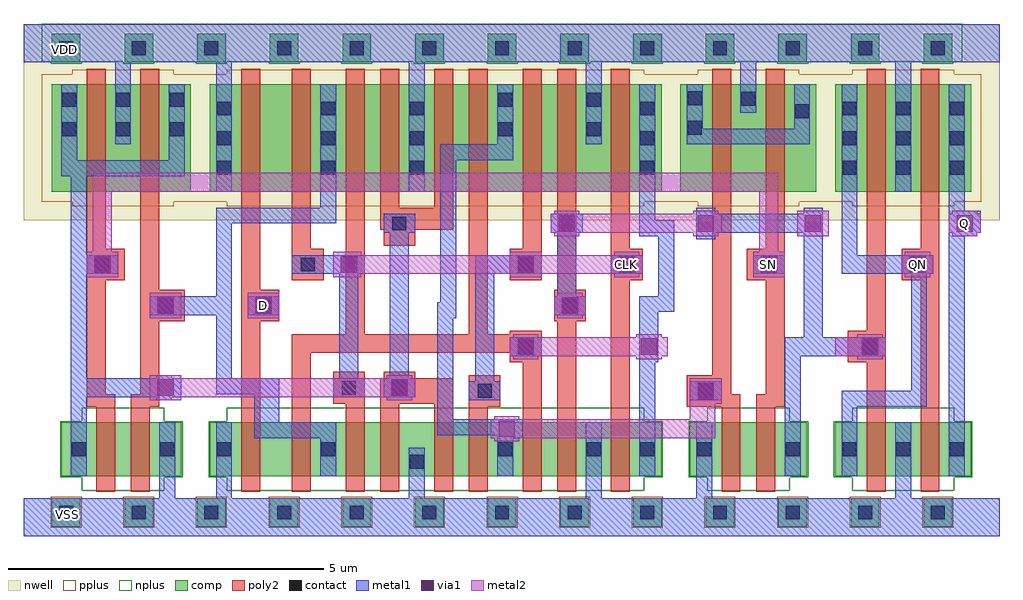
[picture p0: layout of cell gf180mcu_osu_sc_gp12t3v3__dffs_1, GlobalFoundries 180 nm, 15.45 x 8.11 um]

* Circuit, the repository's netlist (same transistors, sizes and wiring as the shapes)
* Copyright 2022 Google LLC
*
* Licensed under the Apache License, Version 2.0 (the "License");
* you may not use this file except in compliance with the License.
* You may obtain a copy of the License at
*
*      http://www.apache.org/licenses/LICENSE-2.0
*
* Unless required by applicable law or agreed to in writing, software
* distributed under the License is distributed on an "AS IS" BASIS,
* WITHOUT WARRANTIES OR CONDITIONS OF ANY KIND, either express or implied.
* See the License for the specific language governing permissions and
* limitations under the License.

.inc "/import/yukari1/lrburle/OSU_180/char/techfiles/design.hspice"
.lib "/import/yukari1/lrburle/OSU_180/char/techfiles/sm141064.hspice" typical

.GLOBAL VDD
.GLOBAL VSS

.option scale=0.05u

.subckt gf180mcu_osu_sc_gp12t3v3__dffs_1 D SN Q QN CLK
X0 a_75_109 D VDD VDD pmos_3p3 w=34 l=6
X1 Q QN VSS VSS nmos_3p3 w=17 l=6
X2 a_227_19 a_147_19 VSS VSS nmos_3p3 w=17 l=6
X3 a_208_109 SN VDD VDD pmos_3p3 w=34 l=6
X4 VSS SN a_108_19 VSS nmos_3p3 w=17 l=6
X5 VDD a_147_19 a_208_109 VDD pmos_3p3 w=34 l=6
X6 a_85_14 CLK VSS VSS nmos_3p3 w=17 l=6
X7 a_168_68 SN a_227_19 VSS nmos_3p3 w=17 l=6
X8 a_75_19 D VSS VSS nmos_3p3 w=17 l=6
X9 a_85_14 CLK VDD VDD pmos_3p3 w=34 l=6
X10 VDD a_168_68 a_164_109 VDD pmos_3p3 w=34 l=6
X11 VDD SN SN VDD pmos_3p3 w=34 l=6
X12 SN a_34_14 VDD VDD pmos_3p3 w=34 l=6
X13 a_147_19 a_85_14 a_136_109 VDD pmos_3p3 w=34 l=6
X14 a_164_109 CLK a_147_19 VDD pmos_3p3 w=34 l=6
X15 a_136_109 SN VDD VDD pmos_3p3 w=34 l=6
X16 a_136_19 SN VSS VSS nmos_3p3 w=17 l=6
X17 VDD SN a_108_109 VDD pmos_3p3 w=34 l=6
X18 VSS a_168_68 QN VSS nmos_3p3 w=17 l=6
X19 a_108_109 a_85_14 a_34_14 VDD pmos_3p3 w=34 l=6
X20 a_164_19 a_85_14 a_147_19 VSS nmos_3p3 w=17 l=6
X21 Q QN VDD VDD pmos_3p3 w=34 l=6
X22 VDD a_168_68 QN VDD pmos_3p3 w=34 l=6
X23 a_147_19 CLK a_136_19 VSS nmos_3p3 w=17 l=6
X24 VSS a_168_68 a_164_19 VSS nmos_3p3 w=17 l=6
X25 a_34_14 CLK a_75_109 VDD pmos_3p3 w=34 l=6
X26 a_29_19 SN SN VSS nmos_3p3 w=17 l=6
X27 a_34_14 a_85_14 a_75_19 VSS nmos_3p3 w=17 l=6
X28 VSS a_34_14 a_29_19 VSS nmos_3p3 w=17 l=6
X29 a_108_19 CLK a_34_14 VSS nmos_3p3 w=17 l=6
.ends

** hspice subcircuit dictionary

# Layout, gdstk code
import gdstk
lib = gdstk.Library(unit=1e-6, precision=1e-09)
def R(c, l, rs):  # rectangles x0, y0, x1, y1
    for r in rs: c.add(gdstk.rectangle(r[:2], r[2:], *l))
def A(c, l, x, y, w, h, nx, ny, dx, dy):  # array of equal rectangles
    R(c, l, [(x+i*dx, y+j*dy, x+i*dx+w, y+j*dy+h) for i in range(nx) for j in range(ny)])
nwell = (21, 0)
comp = (22, 0)
poly2 = (30, 0)
pplus = (31, 0)
nplus = (32, 0)
contact = (33, 0)
metal1 = (34, 0)
via1 = (35, 0)
metal2 = (36, 0)

gf180mcu_osu_sc_gp12t3v3 = lib.new_cell('gf180mcu_osu_sc_gp12t3v3__dffs_1')
R(gf180mcu_osu_sc_gp12t3v3, nwell, [(0,5,15.45,8.1)])
A(gf180mcu_osu_sc_gp12t3v3, comp, 0.45, 0.15, 0.45, 0.45, 13, 2, 1.15, 7.35)
R(gf180mcu_osu_sc_gp12t3v3, comp, [(0.6,0.95,2.5,1.8), (2.95,0.95,10.1,1.8), (10.55,0.95,12.4,1.8), (12.85,0.95,15,1.8), (0.45,5.45,2.65,7.15), (2.95,5.45,10.1,7.15), (10.4,5.45,12.55,7.15), (12.85,5.45,15,7.15)])
A(gf180mcu_osu_sc_gp12t3v3, poly2, 9.3, 4.55, 0.3, 2.85, 3, 1, 2.45, 0)
R(gf180mcu_osu_sc_gp12t3v3, poly2, [(1.15,0.7,1.45,2.05), (1.7,0.7,2,2.05), (3.45,0.7,3.75,3.4), (4.25,0.7,4.55,2.9), (5.1,0.7,5.4,2.1), (5.65,0.7,5.95,2.1), (6.5,0.7,6.8,2.1), (7.05,0.7,7.35,2.05), (7.9,0.7,8.2,2.75), (8.45,0.7,8.75,3.4), (9.3,0.7,9.6,4.05), (11.05,0.7,11.35,2.05), (11.6,0.7,11.9,2.05), (13.35,0.7,13.65,2.75), (14.2,0.7,14.5,4.05), (1,2.05,1.45,2.25), (1.7,2.05,2.15,2.25), (7.05,2.05,7.55,2.55), (10.5,2.05,11.35,2.25), (11.6,2.05,12.05,2.25), (4.9,2.1,5.4,2.6), (5.65,2.1,6.8,2.5), (1,2.25,1.3,4.05), (1.85,2.25,2.15,3.4), (10.5,2.25,11.2,2.55), (11.75,2.25,12.05,4.05), (5.7,2.5,6.2,2.6), (10.9,2.55,11.2,7.4), (7.7,2.75,8.2,2.9), (13.05,2.75,13.65,3.25), (4.25,2.9,8.2,3.2), (5.1,3.2,5.4,7.4), (7.05,3.2,7.35,7.4), (7.7,3.2,8.2,3.25), (13.35,3.25,13.65,7.4), (1.85,3.4,2.55,3.9), (3.45,3.4,4.05,3.9), (8.4,3.4,8.9,3.9), (1.85,3.9,2.15,7.4), (3.45,3.9,3.75,7.4), (8.45,3.9,8.75,7.4), (1,4.05,1.6,4.55), (4.25,4.05,4.75,4.55), (7.7,4.05,8.2,4.55), (9.3,4.05,9.8,4.55), (11.45,4.05,12.05,4.55), (13.9,4.05,14.5,4.55), (1,4.55,1.3,7.4), (4.25,4.55,4.55,7.4), (7.9,4.55,8.2,7.4), (5.7,4.6,6.2,4.85), (5.65,4.85,6.8,5.2), (5.65,5.2,5.95,7.4), (6.5,5.2,6.8,7.4)])
A(gf180mcu_osu_sc_gp12t3v3, pplus, 0.43, 0.13, 0.49, 0.49, 13, 1, 1.15, 0)
R(gf180mcu_osu_sc_gp12t3v3, pplus, [(0.77,5.22,2.38,5.29), (3.22,5.22,9.83,5.29), (10.67,5.22,12.28,5.29), (13.12,5.22,14.73,5.29), (0.29,5.29,15.16,7.31), (0.77,7.31,2.38,7.38), (3.22,7.31,9.83,7.38), (10.67,7.31,12.28,7.38), (13.12,7.31,14.73,7.38)])
A(gf180mcu_osu_sc_gp12t3v3, nplus, 0.43, 7.48, 0.49, 0.03, 13, 1, 1.15, 0)
R(gf180mcu_osu_sc_gp12t3v3, nplus, [(0.92,0.72,2.23,0.93), (3.22,0.72,9.83,0.93), (10.82,0.72,12.13,0.93), (13.12,0.72,14.73,0.93), (0.58,0.93,2.52,1.82), (2.93,0.93,10.12,1.82), (10.53,0.93,12.42,1.82), (12.83,0.93,15.02,1.82), (0.92,1.82,2.23,2.03), (3.22,1.82,9.83,2.03), (10.82,1.82,12.13,2.03), (13.12,1.82,14.73,2.03), (0.29,7.51,14.86,8.11)])
A(gf180mcu_osu_sc_gp12t3v3, contact, 0.565, 0.265, 0.22, 0.22, 13, 2, 1.15, 7.35)
A(gf180mcu_osu_sc_gp12t3v3, contact, 12.965, 1.265, 0.22, 0.22, 3, 2, 0.85, 4.455)
A(gf180mcu_osu_sc_gp12t3v3, contact, 3.065, 5.72, 0.22, 0.22, 1, 3, 0, 0.47)
A(gf180mcu_osu_sc_gp12t3v3, contact, 4.715, 5.72, 0.22, 0.22, 1, 3, 0, 0.47)
A(gf180mcu_osu_sc_gp12t3v3, contact, 6.115, 5.72, 0.22, 0.22, 1, 3, 0, 0.47)
A(gf180mcu_osu_sc_gp12t3v3, contact, 9.765, 5.72, 0.22, 0.22, 1, 3, 0, 0.47)
A(gf180mcu_osu_sc_gp12t3v3, contact, 12.965, 6.19, 0.22, 0.22, 3, 2, 0.85, 0.47)
A(gf180mcu_osu_sc_gp12t3v3, contact, 0.615, 6.33, 0.22, 0.22, 3, 2, 0.85, 0.47)
R(gf180mcu_osu_sc_gp12t3v3, contact, [(6.115,1.065,6.335,1.285), (0.765,1.265,0.985,1.485), (2.165,1.265,2.385,1.485), (3.065,1.265,3.285,1.485), (4.715,1.265,4.935,1.485), (7.515,1.265,7.735,1.485), (8.915,1.265,9.135,1.485), (9.765,1.265,9.985,1.485), (10.665,1.265,10.885,1.485), (12.065,1.265,12.285,1.485), (7.19,2.19,7.41,2.41), (10.69,2.19,10.91,2.41), (5.04,2.24,5.26,2.46), (5.84,2.24,6.06,2.46), (7.84,2.89,8.06,3.11), (13.29,2.89,13.51,3.11), (2.14,3.54,2.36,3.76), (3.69,3.54,3.91,3.76), (8.54,3.54,8.76,3.76), (1.14,4.19,1.36,4.41), (4.39,4.19,4.61,4.41), (7.84,4.19,8.06,4.41), (9.44,4.19,9.66,4.41), (11.69,4.19,11.91,4.41), (14.04,4.19,14.26,4.41), (5.84,4.84,6.06,5.06), (7.515,6.33,7.735,6.55), (8.915,6.33,9.135,6.55), (10.515,6.355,10.735,6.575), (12.215,6.615,12.435,6.835), (7.515,6.8,7.735,7.02), (8.915,6.8,9.135,7.02), (11.365,6.815,11.585,7.035), (10.515,6.825,10.735,7.045)])
R(gf180mcu_osu_sc_gp12t3v3, metal1, [(0,0,15.45,0.6), (2.15,0.6,2.4,1.8), (3.05,0.6,3.3,1.8), (6.1,0.6,6.35,1.4), (8.9,0.6,9.15,1.8), (10.65,0.6,10.9,1.8), (13.8,0.6,14.05,1.8), (0.75,0.95,1,2.2), (4.7,0.95,4.95,1.55), (7.5,0.95,7.75,1.55), (9.75,0.95,10,2.75), (12.05,0.95,12.3,2.85), (12.95,0.95,13.2,2.05), (14.65,0.95,14.9,4.75), (3.65,1.55,4.95,1.8), (7.5,1.55,7.9,1.6), (6.55,1.6,7.9,1.85), (3.65,1.8,4.05,2.25), (6.55,1.85,6.8,3.45), (12.95,2.05,14.3,2.3), (2.1,2.15,2.35,2.2), (7.05,2.15,7.55,2.45), (10.55,2.15,11.05,2.45), (0.75,2.2,2.5,2.5), (4.9,2.2,5.4,2.5), (5.7,2.2,6.2,2.5), (3.05,2.25,4.05,2.5), (14.05,2.3,14.3,4.15), (7.15,2.45,7.45,4.15), (0.75,2.5,1,4.15), (2.1,2.5,2.35,2.55), (3.05,2.5,3.3,3.5), (5,2.5,5.3,4.15), (5.8,2.5,6.1,4.8), (9.75,2.75,10.05,3.55), (7.7,2.85,8.2,3.15), (12.05,2.85,13.65,3.15), (12.35,3.15,12.65,4.8), (6.55,3.45,6.85,3.7), (2,3.5,3.3,3.8), (3.55,3.5,4.05,3.8), (8.4,3.5,8.9,3.8), (9.75,3.55,10.3,3.8), (6.6,3.7,6.85,5.95), (3.05,3.8,3.3,4.95), (8.45,3.8,8.75,4.8), (10.05,3.8,10.3,4.75), (0.75,4.15,1.5,4.45), (4.25,4.15,5.4,4.45), (7.15,4.15,8.2,4.45), (9.3,4.15,9.8,4.45), (11.55,4.15,12.05,4.45), (12.95,4.15,14.4,4.45), (0.75,4.45,1,5.7), (12.95,4.45,13.2,7.15), (10.65,4.7,10.95,4.8), (9.75,4.75,10.3,5), (14.65,4.75,15.1,4.8), (5.7,4.8,6.2,5.1), (8.35,4.8,8.85,5.1), (10.65,4.8,12.65,5.1), (14.65,4.8,15.15,5.15), (3.05,4.95,4.95,5.2), (9.75,5,10,7.15), (10.65,5.1,10.95,5.2), (12.35,5.1,12.65,5.2), (14.65,5.15,14.9,7.15), (4.7,5.2,4.95,7.15), (3.05,5.45,3.3,7.5), (6.1,5.45,6.35,7.5), (13.8,5.45,14.05,7.5), (0.6,5.7,2.55,5.95), (0.6,5.95,0.85,7.15), (2.3,5.95,2.55,7.15), (6.6,5.95,7.75,6.2), (1.45,6.2,1.7,7.5), (7.5,6.2,7.75,7.15), (8.9,6.2,9.15,7.5), (10.5,6.2,12.45,6.45), (10.5,6.45,10.75,7.15), (12.2,6.45,12.45,7.15), (11.35,6.7,11.6,7.5), (0,7.5,15.45,8.1)])
R(gf180mcu_osu_sc_gp12t3v3, via1, [(7.52,1.57,7.78,1.83), (10.67,2.17,10.93,2.43), (2.12,2.22,2.38,2.48), (5.82,2.22,6.08,2.48), (7.82,2.87,8.08,3.13), (9.77,2.87,10.03,3.13), (13.27,2.87,13.53,3.13), (2.12,3.52,2.38,3.78), (3.67,3.52,3.93,3.78), (8.52,3.52,8.78,3.78), (1.12,4.17,1.38,4.43), (5.02,4.17,5.28,4.43), (7.82,4.17,8.08,4.43), (9.42,4.17,9.68,4.43), (11.67,4.17,11.93,4.43), (14.02,4.17,14.28,4.43), (8.47,4.82,8.73,5.08), (10.67,4.82,10.93,5.08), (12.37,4.82,12.63,5.08), (14.77,4.82,15.03,5.08)])
R(gf180mcu_osu_sc_gp12t3v3, metal2, [(7.45,1.5,7.85,1.55), (7.4,1.55,10.95,1.85), (7.45,1.85,7.85,1.9), (10.55,1.85,10.95,2.1), (10.55,2.1,11.05,2.5), (2,2.15,2.5,2.2), (5.75,2.15,6.15,2.2), (2,2.2,6.2,2.5), (2,2.5,2.5,2.55), (5.75,2.5,6.15,2.55), (7.75,2.8,8.15,2.85), (9.7,2.8,10.1,2.85), (13.2,2.8,13.6,2.85), (7.7,2.85,10.2,3.15), (12.85,2.85,13.65,3.15), (7.75,3.15,8.15,3.2), (9.7,3.15,10.1,3.2), (13.2,3.15,13.6,3.2), (2,3.45,2.5,3.85), (3.55,3.45,4.05,3.85), (8.45,3.45,8.85,3.5), (8.4,3.5,8.9,3.8), (8.45,3.8,8.85,3.85), (1,4.1,1.5,4.5), (4.9,4.1,5.35,4.15), (7.7,4.1,8.2,4.15), (9.35,4.1,9.75,4.15), (11.55,4.1,12.05,4.5), (13.95,4.1,14.35,4.15), (4.9,4.15,9.8,4.45), (13.9,4.15,14.4,4.45), (4.9,4.45,5.35,4.5), (7.7,4.45,8.2,4.5), (9.35,4.45,9.75,4.5), (13.95,4.45,14.35,4.5), (1.1,4.5,1.4,5.45), (11.65,4.5,11.95,5.45), (8.4,4.75,8.8,4.8), (10.6,4.75,11,4.8), (12.25,4.75,12.75,5.15), (14.7,4.75,15.1,4.8), (8.35,4.8,11.05,5.1), (14.65,4.8,15.15,5.1), (8.4,5.1,8.8,5.15), (10.6,5.1,11,5.15), (14.7,5.1,15.1,5.15), (1.1,5.45,11.95,5.75)])
gf180mcu_osu_sc_gp12t3v3.add(gdstk.Label('VDD', (0.65,7.7), layer=34, texttype=0))
gf180mcu_osu_sc_gp12t3v3.add(gdstk.Label('VSS', (0.7,0.35), layer=34, texttype=0))
gf180mcu_osu_sc_gp12t3v3.add(gdstk.Label('D', (3.8,3.65), layer=36, texttype=10))
gf180mcu_osu_sc_gp12t3v3.add(gdstk.Label('SN', (11.8,4.3), layer=36, texttype=10))
gf180mcu_osu_sc_gp12t3v3.add(gdstk.Label('Q', (14.9,4.95), layer=36, texttype=10))
gf180mcu_osu_sc_gp12t3v3.add(gdstk.Label('QN', (14.15,4.3), layer=36, texttype=10))
gf180mcu_osu_sc_gp12t3v3.add(gdstk.Label('CLK', (9.55,4.3), layer=36, texttype=10))

lib.write_gds('gf180mcu_osu_sc_gp12t3v3__dffs_1.gds')
